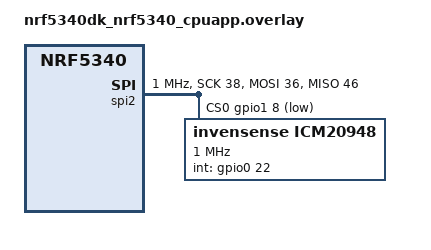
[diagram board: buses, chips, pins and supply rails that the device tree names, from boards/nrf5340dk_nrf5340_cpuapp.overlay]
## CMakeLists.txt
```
cmake_minimum_required(VERSION 3.20.0)

set(DTC_OVERLAY_FILE "${CMAKE_CURRENT_SOURCE_DIR}/boards/nrf5340dk_nrf5340_cpuapp.overlay")

find_package(Zephyr REQUIRED HINTS $ENV{ZEPHYR_BASE})
project(icm20948)

FILE(GLOB app_sources src/*.c)
target_sources(app PRIVATE ${app_sources})
```

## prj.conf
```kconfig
#
# Copyright (c) 2019 Nordic Semiconductor ASA
#
# SPDX-License-Identifier: Apache-2.0
#

CONFIG_SPI=y
CONFIG_SENSOR=y
CONFIG_ICM20948=y

CONFIG_LOG=y
CONFIG_SENSOR_LOG_LEVEL_WRN=y
CONFIG_SENSOR_LOG_LEVEL_INF=y
CONFIG_SENSOR_LOG_LEVEL_DBG=y
CONFIG_LOG_DEFAULT_LEVEL=4
```

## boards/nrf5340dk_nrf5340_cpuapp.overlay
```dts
/*
Didzis setup:
CS:   P1.08
SCLK: P1.06
MOSI:  P1.04
MISO:  P0.21
INT:   P0.22
*/

&spi2 {
	compatible = "nordic,nrf-spim";
	status = "okay";
	cs-gpios = <&gpio1 8 GPIO_ACTIVE_LOW>; /* Port 1, pin 8 */
        sck-pin = <38>;
	miso-pin = <46>; /* was 21 0.21 */
	mosi-pin = <36>;
        clock-frequency = <1000000>;
	icm20948@1 {
		compatible = "invensense,icm20948";
		spi-max-frequency = <1000000>;
		reg = <0>;
		label = "ICM20948";
		int-gpios = <&gpio0 22 GPIO_ACTIVE_HIGH>; /* Port 0, pin 22 */
	};
};
```

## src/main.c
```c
#include <zephyr.h>
#include <device.h>
#include <drivers/sensor.h>
#include <stdio.h>

/* 1000 msec = 1 sec */
#define SLEEP_TIME_MS   1000

/* static const char *now_str(void) */
/* { */
/* 	static char buf[16]; /\* ...HH:MM:SS.MMM *\/ */
/* 	uint32_t now = k_uptime_get_32(); */
/* 	unsigned int ms = now % MSEC_PER_SEC; */
/* 	unsigned int s; */
/* 	unsigned int min; */
/* 	unsigned int h; */

/* 	now /= MSEC_PER_SEC; */
/* 	s = now % 60U; */
/* 	now /= 60U; */
/* 	min = now % 60U; */
/* 	now /= 60U; */
/* 	h = now; */

/* 	snprintf(buf, sizeof(buf), "%u:%02u:%02u.%03u", */
/* 		 h, min, s, ms); */
/* 	return buf; */
/* } */

/* static int process_icm20948(const struct device *dev) */
/* { */
/* //	struct sensor_value temperature; */
/* 	struct sensor_value accel[3]; */
/* 	int rc = sensor_sample_fetch(dev); */

/* 	if (rc == 0) { */
/* 		rc = sensor_channel_get(dev, SENSOR_CHAN_ACCEL_XYZ, */
/* 					accel); */
/* 	} */
/* 	/\* if (rc == 0) { *\/ */
/* 	/\* 	rc = sensor_channel_get(dev, SENSOR_CHAN_GYRO_XYZ, *\/ */
/* 	/\* 				gyro); *\/ */
/* 	/\* } *\/ */
/* 	/\* if (rc == 0) { *\/ */
/* 	/\* 	rc = sensor_channel_get(dev, SENSOR_CHAN_DIE_TEMP, *\/ */
/* 	/\* 				&temperature); *\/ */
/* 	/\* } *\/ */
/* 	if (rc == 0) { */
/* 		printf("[%s]: \n" */
/* 		       "  accel % f % f % f m/s/s\n", */
/* 		       now_str(), */
/* 		       sensor_value_to_double(&accel[0]), */
/* 		       sensor_value_to_double(&accel[1]), */
/* 		       sensor_value_to_double(&accel[2])); */
/* 	} else { */
/* 		printf("sample fetch/get failed: %d\n", rc); */
/* 	} */

/* 	return rc; */
/* } */

/* static struct sensor_trigger data_trigger; */

/* static void handle_icm20948_drdy(const struct device *dev, */
/* 				 struct sensor_trigger *trig) */
/* { */
/* 	int rc = process_icm20948(dev); */

/* 	if (rc != 0) { */
/* 		printf("cancelling trigger due to failure: %d\n", rc); */
/* 		(void)sensor_trigger_set(dev, trig, NULL); */
/* 		return; */
/* 	} */
/* } */

/* /\* static void handle_icm20948_tap(const struct device *dev, *\/ */
/* /\* 				 struct sensor_trigger *trig) *\/ */
/* /\* { *\/ */
/* /\* 	printf("Tap Detected!\n"); *\/ */
/* /\* } *\/ */

/* /\* static void handle_icm20948_double_tap(const struct device *dev, *\/ */
/* /\* 				 struct sensor_trigger *trig) *\/ */
/* /\* { *\/ */
/* /\* 	printf("Double Tap detected!\n"); *\/ */
/* /\* } *\/ */

void main(void)
{
	const char *const label = DT_LABEL(DT_INST(0, invensense_icm20948));
	const struct device *icm20948 = device_get_binding(label);

	if (!icm20948) {
		printf("Failed to find sensor %s\n", label);
		return;
	}

	/* tap_trigger = (struct sensor_trigger) { */
	/* 	.type = SENSOR_TRIG_TAP, */
	/* 	.chan = SENSOR_CHAN_ALL, */
	/* }; */

	/* if (sensor_trigger_set(icm20948, &tap_trigger, */
	/* 		       handle_icm20948_tap) < 0) { */
	/* 	printf("Cannot configure tap trigger!!!\n"); */
	/* 	return; */
	/* } */

	/* double_tap_trigger = (struct sensor_trigger) { */
	/* 	.type = SENSOR_TRIG_DOUBLE_TAP, */
	/* 	.chan = SENSOR_CHAN_ALL, */
	/* }; */

	/* if (sensor_trigger_set(icm20948, &double_tap_trigger, */
	/* 		       handle_icm20948_double_tap) < 0) { */
	/* 	printf("Cannot configure double tap trigger!!!\n"); */
	/* 	return; */
	/* } */

	/* data_trigger = (struct sensor_trigger) { */
	/* 	.type = SENSOR_TRIG_DATA_READY, */
	/* 	.chan = SENSOR_CHAN_ALL, */
	/* }; */

	/* if (sensor_trigger_set(icm20948, &data_trigger, */
	/* 		       handle_icm20948_drdy) < 0) { */
	/* 	printf("Cannot configure data trigger!!!\n"); */
	/* 	return; */
	/* } */

        printf("Configured for sensor sampling.\n");

        int rc;
        while (1) {
            rc = icm_20948_data_ready(icm20948);
            if (rc != 0) {
                printf("not ready, rc=%d.\n", rc);
            } else {
                    struct sensor_value accel[3];
                    int rc = sensor_sample_fetch(icm20948);

                    if (rc == 0) {
                        rc = sensor_channel_get(icm20948, SENSOR_CHAN_ACCEL_XYZ, accel);
                        if (rc == 0) {
                            printf("  x=%d y=%d z=%d\n",
                                    accel[0].val1, accel[1].val1, accel[2].val1);
                        } else {
                            printf("sensor_channel_get, rc=%d.\n", rc);
                        }
                    } else {
                        printf("sensor_sample_fetch, rc=%d.\n", rc);
                    }
            }

            k_msleep(SLEEP_TIME_MS);
	}
}
```
